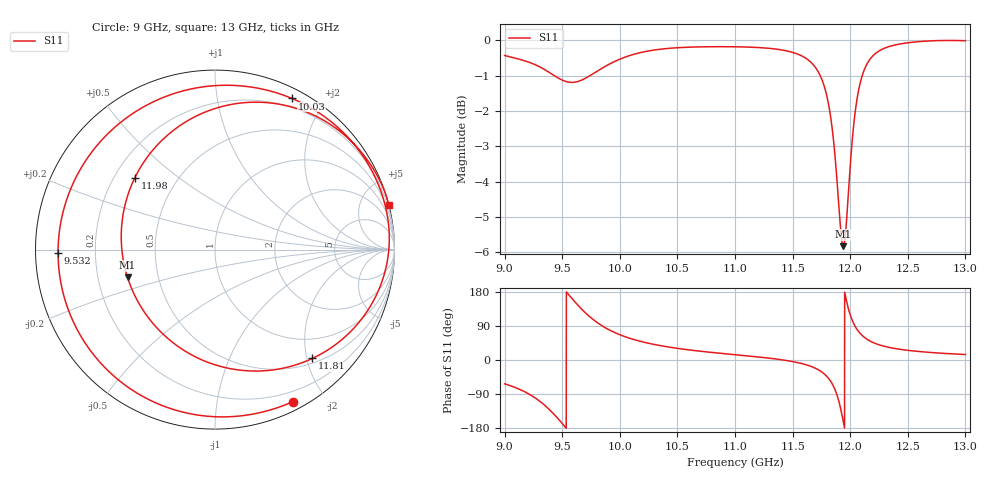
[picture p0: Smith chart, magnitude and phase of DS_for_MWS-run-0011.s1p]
! TOUCHSTONE file generated by CST DESIGN STUDIO
! Date and time: Tue Feb  4 13:58:17 2025
! Project name: C:\Work\MatlabApps\UnitCellOptimizationMatlab\CST\unitcell.cst
! Tree item: Tasks\Sweep1\SPara1\S-Parameters
! Header version: 2024
! Port assignment regex: !\s*Touchstone port\s*([0-9]+)\s*=\s*(CST MWS port|CST DES external port|CST DES block port)\s*(.+)\s* \(\"(.*)\"\)(\s*mode\s*([0-9]+))?.*
! Touchstone port assignment:
! Touchstone port 1 = CST DES external port 1 ("")
# GHz S MA R 50
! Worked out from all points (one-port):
!   4001 points, 9 GHz to 13 GHz, reference 50 ohm
!   lowest |S11| = -5.8 dB at 11.94 GHz (marker M1), VSWR 3.09, Z = 16.5 - j6.91 ohm
!   |S11| at or under -10 dB: nowhere
!   S11 on the Smith chart (normalised r, x): 9 GHz: 0.09, -1.63; 9.532 GHz: 0.07, -0.01; 10.03 GHz: 0.10, +1.63; 11.81 GHz: 0.59, -2.10; 11.98 GHz: 0.28, +0.36; 13 GHz: 0.03, +7.87
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9  0.952 -62.9
9.154  0.9378 -80.7
9.302  0.9178 -108.1
9.399  0.8984 -134.0
9.5  0.8786 -167.5
9.532  0.8746 -178.9
9.642  0.8752 142.7
9.737  0.8906 114.7
9.847  0.9135 90.1
10  0.9406 66.7
10.032  0.9451 63.0
10.234  0.9651 45.2
10.5  0.9764 30.7
11  0.9794 14.0
11.5  0.9617 -4.1
11.701  0.9143 -22.2
11.811  0.8138 -48.1
11.884  0.6379 -91.1
11.911  0.5553 -120.3
11.94  0.5113 -162.4
11.982  0.5999 138.1
12  0.6635 119.4
12.06  0.8275 80.4
12.11  0.8973 63.1
12.169  0.939 50.6
12.296  0.9746 36.2
12.5  0.9923 25.5
13  0.9989 14.5
